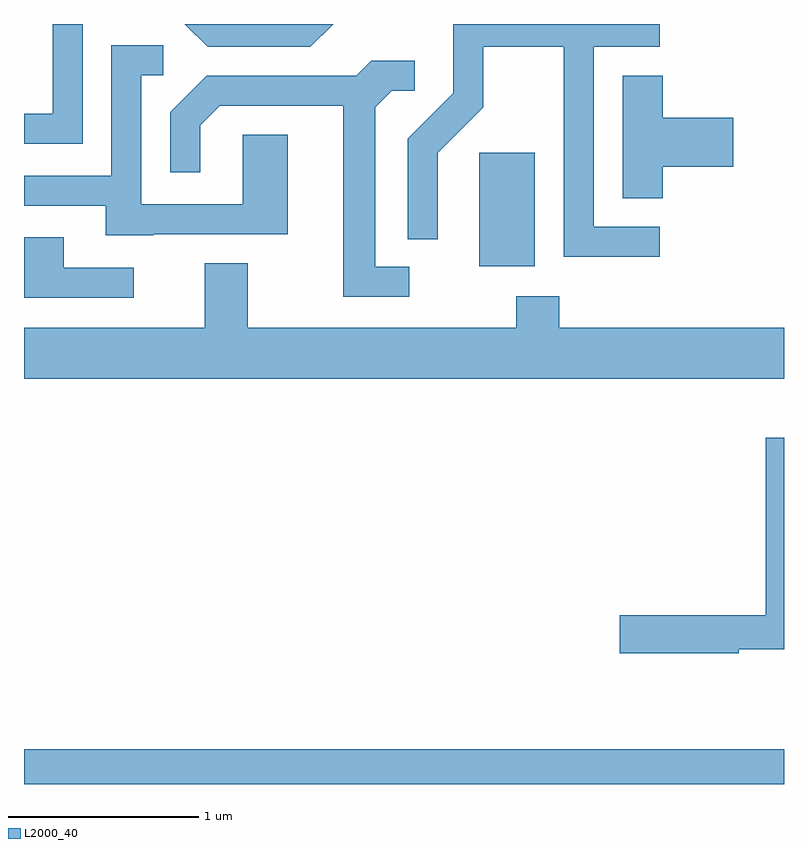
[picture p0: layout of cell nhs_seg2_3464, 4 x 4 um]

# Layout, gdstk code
import gdstk
lib = gdstk.Library(unit=1e-6, precision=1e-09)
def R(c, l, rs):  # rectangles x0, y0, x1, y1
    for r in rs: c.add(gdstk.rectangle(r[:2], r[2:], *l))
def P(c, l, *ps):  # polygons
    for p in ps: c.add(gdstk.Polygon(p, *l))
L2000_40 = (2000, 40)

nhs_seg2_3464 = lib.new_cell('nhs_seg2_3464')
R(nhs_seg2_3464, L2000_40, [(287.611,981.802,291.611,981.984), (290.006,984.526,290.299,985.124)])
P(nhs_seg2_3464, L2000_40, [(287.919,985.802),(287.761,985.802),(287.761,985.329),(287.611,985.329),(287.611,985.171),(287.919,985.171)],
  [(289.238,985.802),(288.458,985.802),(288.579,985.681),(289.117,985.681)],
  [(290.958,984.734),(290.609,984.734),(290.609,985.681),(290.958,985.681),(290.958,985.802),(289.871,985.802),(289.871,985.437),(289.631,985.197),(289.631,984.668),(289.789,984.668),(289.789,985.124),(290.029,985.364),(290.029,985.681),(290.451,985.681),(290.451,984.576),(290.958,984.576)],
  [(288.295,984.696),(288.999,984.696),(288.999,985.219),(288.761,985.219),(288.761,984.854),(288.229,984.854),(288.229,985.531),(288.343,985.531),(288.343,985.689),(288.071,985.689),(288.071,985.004),(287.611,985.004),(287.611,984.846),(288.041,984.846),(288.041,984.691),(288.295,984.691)],
  [(289.638,984.524),(289.459,984.524),(289.459,985.364),(289.547,985.451),(289.668,985.451),(289.668,985.609),(289.439,985.609),(289.359,985.529),(288.574,985.529),(288.381,985.337),(288.381,985.023),(288.539,985.023),(288.539,985.269),(288.642,985.371),(289.291,985.371),(289.291,984.366),(289.638,984.366)],
  [(290.974,985.051),(291.344,985.051),(291.344,985.309),(290.974,985.309),(290.974,985.529),(290.761,985.529),(290.761,984.886),(290.974,984.886)],
  [(288.188,984.519),(287.819,984.519),(287.819,984.679),(287.611,984.679),(287.611,984.361),(288.188,984.361)],
  [(291.611,984.204),(290.429,984.204),(290.429,984.369),(290.201,984.369),(290.201,984.204),(288.789,984.204),(288.789,984.544),(288.561,984.544),(288.561,984.204),(287.611,984.204),(287.611,983.936),(291.611,983.936)],
  [(291.374,982.511),(291.611,982.511),(291.611,983.624),(291.516,983.624),(291.516,982.689),(290.746,982.689),(290.746,982.491),(291.374,982.491)])

lib.write_gds('nhs_seg2_3464.gds')
